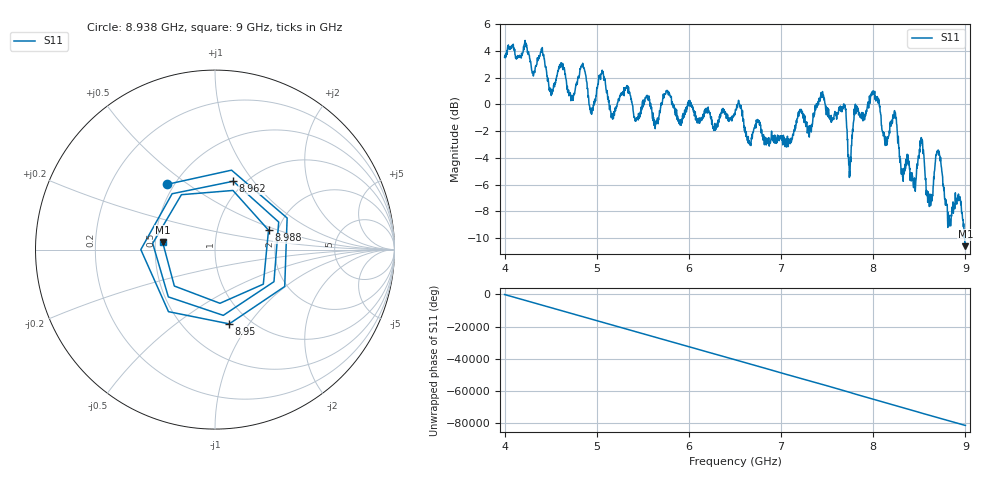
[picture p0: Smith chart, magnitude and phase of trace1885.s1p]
! Created with skrf 1.8.0 (http://scikit-rf.org).
# Hz S RI R 50.0
!freq ReS11 ImS11
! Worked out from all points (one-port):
!   1601 points, 4 GHz to 9 GHz, reference 50 ohm
!   lowest |S11| = -10.6 dB at 9 GHz (marker M1), VSWR 1.84, Z = 27.3 + j2.57 ohm
!   |S11| at or under -10 dB: 8.992416 GHz to end of sweep
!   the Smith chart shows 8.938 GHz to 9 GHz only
!   S11 on the Smith chart (normalised r, x): 8.938 GHz: 0.46, +0.42; 8.95 GHz: 0.81, -0.81; 8.962 GHz: 0.89, +0.80; 8.988 GHz: 1.78, +0.43; 9 GHz: 0.55, +0.05
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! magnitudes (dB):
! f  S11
! 4 GHz  3.5
! 4.406 GHz  4.1
! 4.506 GHz  0.7
! 4.625 GHz  3.0
! 4.722 GHz  0.4
! 4.853 GHz  2.8
! 4.941 GHz  -0.4
! 5.047 GHz  2.2
! 5.162 GHz  -0.7
! 5.25 GHz  0.6
! 5.875 GHz  -0.9
! 6.5 GHz  -0.7
! 7.125 GHz  -2.3
! 7.444 GHz  0.5
! 7.678 GHz  0.0
! 7.75 GHz  -4.5
! 7.812 GHz  -0.7
! 7.997 GHz  1.0
! 8.375 GHz  -4.1
! 8.525 GHz  -2.9
! 8.622 GHz  -7.6
! 8.706 GHz  -3.4
! 8.825 GHz  -8.7
! 8.938 GHz  -6.9
! 8.95 GHz  -7.5
! 8.962 GHz  -8.1
! 8.988 GHz  -10.0
! 9 GHz  -10.6
